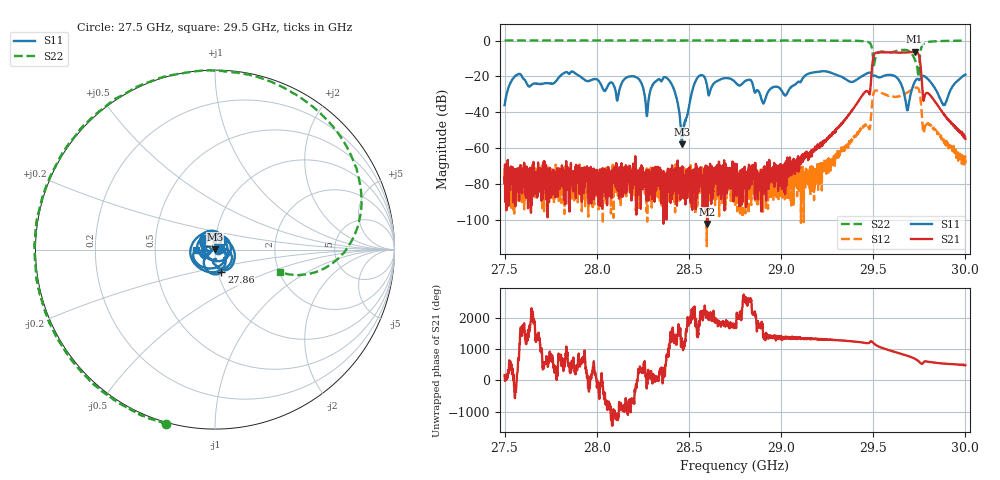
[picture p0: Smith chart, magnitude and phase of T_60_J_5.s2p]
!Keysight Technologies,N5234A,MY55441357,A.10.47.05
!Date: Sunday, November 19, 2017 17:34:26
!Correction: S11(Full 2 Port(1,2))
!S21(Full 2 Port(1,2))
!S12(Full 2 Port(1,2))
!S22(Full 2 Port(1,2))
!S2P File: Measurements: S11, S21, S12, S22:
# Hz S  dB  R 50
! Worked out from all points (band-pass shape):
!   2501 points, 27.5 GHz to 30 GHz, reference 50 ohm
!   highest |S21| = -6.21 dB at 29.72 GHz (marker M1); lowest = -102.3 dB at 28.6 GHz (marker M2)
!   |S21| within 3 dB of the highest: 29.5 GHz to 29.75 GHz (249.4 MHz wide, 0.842 % of centre)
!   lowest |S11| = -57.9 dB at 28.46 GHz (marker M3), VSWR 1.00, Z = 49.9 + j0.111 ohm
!   |S11| at or under -10 dB: start of sweep to end of sweep
!   |S22| runs from -20.2 to 0.1 dB; largest |S21 - S12| = 0.51
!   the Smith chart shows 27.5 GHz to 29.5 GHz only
!   S11 on the Smith chart (normalised r, x): 27.5 GHz: 1.03, -0.00; 27.86 GHz: 1.04, -0.26; 29.5 GHz: 0.81, -0.01
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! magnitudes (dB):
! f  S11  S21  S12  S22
! 27.5 GHz  -36.0  -71.9  -77.8  0.1
! 27.57 GHz  -18.9  -83.9  -78.3  0.1
! 27.86 GHz  -17.8  -80.7  -75.9  0.1
! 27.92 GHz  -20.5  -71.0  -72.8  0.1
! 28.21 GHz  -20.2  -74.5  -81.6  0.1
! 28.27 GHz  -42.1  -74.4  -71.3  0.1
! 28.33 GHz  -21.6  -81.1  -83.4  0.1
! 28.41 GHz  -25.1  -86.0  -81.3  0.1
! 28.46 GHz  -57.9  -80.3  -78.2  0.0
! 28.54 GHz  -21.4  -76.3  -79.4  0.0
! 28.6 GHz  -26.1  -102.3  -85.5  0.0
! 28.75 GHz  -23.0  -77.8  -81.4  0.0
! 28.91 GHz  -35.0  -72.4  -85.3  0.0
! 29.17 GHz  -17.9  -64.6  -70.1  0.0
! 29.47 GHz  -18.0  -28.9  -48.3  -0.8
! 29.5 GHz  -19.5  -10.9  -31.2  -8.3
! 29.58 GHz  -19.1  -6.5  -30.8  -6.7
! 29.68 GHz  -38.5  -6.6  -28.9  -5.4
! 29.72 GHz  -23.3  -6.2  -26.5  -10.1
! 29.78 GHz  -19.9  -31.3  -49.4  -1.4
! 29.88 GHz  -35.9  -41.1  -56.1  -0.2
! 30 GHz  -19.0  -54.8  -68.6  0.0
